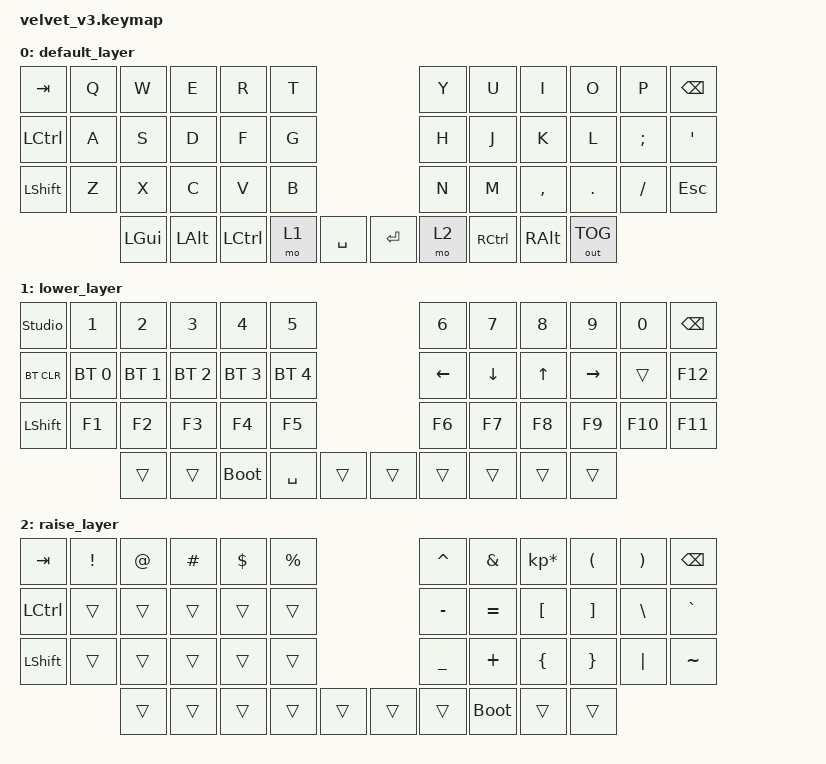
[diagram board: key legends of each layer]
#include <behaviors.dtsi>
#include <dt-bindings/zmk/bt.h>
#include <dt-bindings/zmk/keys.h>
#include <dt-bindings/zmk/outputs.h>

/ {
    keymap {
        compatible = "zmk,keymap";

        default_layer {
            // -------------------------------------------------------------------------------------------------
            // |  TAB |  Q  |  W  |  E  |  R  |  T  |                    |  Y  |  U   |  I  |  O  |  P  | BKSP |
            // | CTRL |  A  |  S  |  D  |  F  |  G  |                    |  H  |  J   |  K  |  L  |  ;  |  '   |
            // | SHFT |  Z  |  X  |  C  |  V  |  B  |  MUTE  |  |        |  N  |  M   |  ,  |  .  |  /  | ESC  |
            //                    | GUI | LWR | SPC |                    | ENT | RSE  | ALT |

            bindings = <
&kp TAB    &kp Q  &kp W     &kp E     &kp R      &kp T                        &kp Y  &kp U      &kp I      &kp O         &kp P     &kp BSPC
&kp LCTRL  &kp A  &kp S     &kp D     &kp F      &kp G                        &kp H  &kp J      &kp K      &kp L         &kp SEMI  &kp SQT
&kp LSHFT  &kp Z  &kp X     &kp C     &kp V      &kp B                        &kp N  &kp M      &kp COMMA  &kp DOT       &kp FSLH  &kp ESC
                  &kp LGUI  &kp LALT  &kp LCTRL  &mo 1  &kp SPACE    &kp RET  &mo 2  &kp RCTRL  &kp RALT   &out OUT_TOG
            >;
        };

        lower_layer {
            // ------------------------------------------------------------------------------------------------
            // |  TAB |  1  |  2  |  3  |  4  |  5  |                    |  6  |  7  |  8  |  9  |  0  | BKSP |
            // | BTCLR| BT1 | BT2 | BT3 | BT4 | BT5 |                    | LFT | DWN |  UP | RGT |     |  F12 |
            // | SHFT | F1  | F2  | F3  | F4  | F5  |  boot  |  |        |  F6 | F7  | F8  | F9  | F10 |  F11 |
            //                    | GUI |     | SPC |                    | ENT |     | ALT |

            bindings = <
&studio_unlock  &kp N1        &kp N2        &kp N3        &kp N4        &kp N5                          &kp N6    &kp N7    &kp N8  &kp N9     &kp N0   &kp BSPC
&bt BT_CLR      &bt BT_SEL 0  &bt BT_SEL 1  &bt BT_SEL 2  &bt BT_SEL 3  &bt BT_SEL 4                    &kp LEFT  &kp DOWN  &kp UP  &kp RIGHT  &trans   &kp F12
&kp LSHFT       &kp F1        &kp F2        &kp F3        &kp F4        &kp F5                          &kp F6    &kp F7    &kp F8  &kp F9     &kp F10  &kp F11
                              &trans        &trans        &bootloader   &kp SPACE     &trans    &trans  &trans    &trans    &trans  &trans
            >;
        };

        raise_layer {
            // ------------------------------------------------------------------------------------------------
            // |  TAB |  !  |  @  |  #  |  $  |  %  |                    |  ^  |  &  |  *  |  (  |  )  | BKSP |
            // | CTRL |     |     |     |     |     |                    |  -  |  =  |  [  |  ]  |  \  |  `   |
            // | SHFT |     |     |     |     |     |        |  |  boot  |  _  |  +  |  {  |  }  | "|" |  ~   |
            //                    | GUI |     | SPC |                    | ENT |     | ALT |

            bindings = <
&kp TAB    &kp EXCL  &kp AT  &kp HASH  &kp DLLR  &kp PRCNT                    &kp CARET  &kp AMPS     &kp KP_MULTIPLY  &kp LPAR  &kp RPAR  &kp BSPC
&kp LCTRL  &trans    &trans  &trans    &trans    &trans                       &kp MINUS  &kp EQUAL    &kp LBKT         &kp RBKT  &kp BSLH  &kp GRAVE
&kp LSHFT  &trans    &trans  &trans    &trans    &trans                       &kp UNDER  &kp PLUS     &kp LBRC         &kp RBRC  &kp PIPE  &kp TILDE
                     &trans  &trans    &trans    &trans     &trans    &trans  &trans     &bootloader  &trans           &trans
            >;
        };
    };
};
